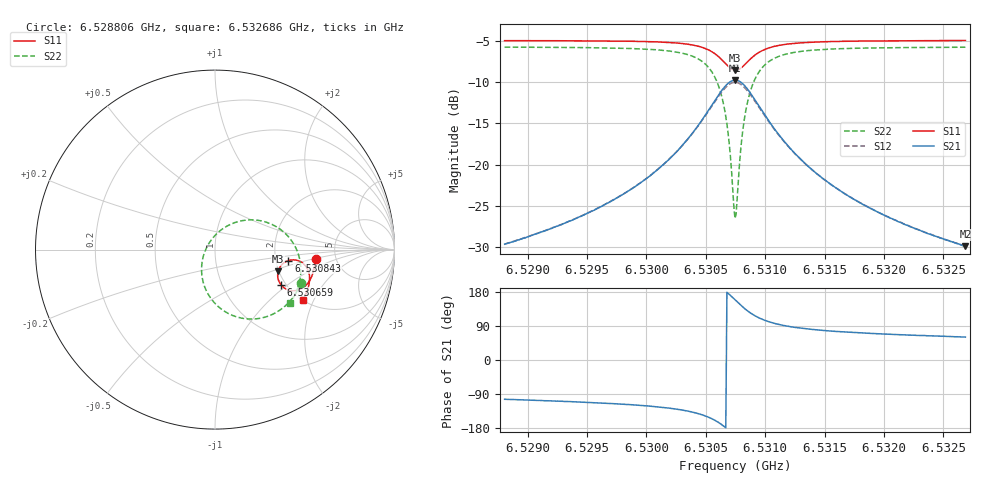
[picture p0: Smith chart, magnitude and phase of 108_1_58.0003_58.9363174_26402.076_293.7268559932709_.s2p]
#  HZ  S  RI  R  50.00
! Rohde & Schwarz Vector Network Analyzer
! Rohde-Schwarz,ZNB20-2Port,1311601062101988,3.16
! Created: UTC 3/21/2024, 12:55:05 AM
! freq[Hz]  re:S11  im:S11  re:S21  im:S21  re:S12  im:S12  re:S22  im:S22
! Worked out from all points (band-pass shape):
!   401 points, 6.528806 GHz to 6.532686 GHz, reference 50 ohm
!   highest |S21| = -9.76 dB at 6.530746 GHz (marker M1); lowest = -29.9 dB at 6.532686 GHz (marker M2)
!   |S21| within 3 dB of the highest: 6.530553 GHz to 6.530941 GHz (388.6 kHz wide, 0.00595 % of centre)
!   lowest |S11| = -8.6 dB at 6.530746 GHz (marker M3), VSWR 2.19, Z = 99.2 - j27.8 ohm
!   |S11| at or under -10 dB: nowhere
!   |S22| runs from -26.5 to -5.8 dB; largest |S21 - S12| = 0.013
!   S11 on the Smith chart (normalised r, x): 6.528806 GHz: 3.48, -0.56; 6.530659 GHz: 1.88, -0.89; 6.530843 GHz: 2.35, -0.35; 6.532686 GHz: 2.00, -1.66
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6.5288058e9  0.5607 -0.0548  -0.00779 -0.0321  -0.00854 -0.032  0.4804 -0.1842
6.5294557e9  0.5512 -0.1102  -0.0175 -0.0456  -0.0188 -0.0454  0.4481 -0.2464
6.529805e9  0.5409 -0.1439  -0.0298 -0.0592  -0.0314 -0.0586  0.4161 -0.289
6.5301057e9  0.5238 -0.178  -0.0532 -0.0786  -0.0552 -0.0772  0.3629 -0.3362
6.5303288e9  0.4965 -0.2086  -0.0949 -0.0996  -0.098 -0.0961  0.278 -0.3764
6.5304937e9  0.4511 -0.2285  -0.1668 -0.1071  -0.1695 -0.0999  0.1453 -0.3813
6.5305907e9  0.4039 -0.2232  -0.2407 -0.0797  -0.2397 -0.0692  0.0221 -0.321
6.5306586e9  0.3664 -0.1946  -0.2953 -0.0184  -0.2888 -0.00734  -0.0578 -0.207
6.5306877e9  0.3548 -0.1733  -0.3099 0.0221  -0.3009 0.0318  -0.0739 -0.1364
6.5307265e9  0.3493 -0.1386  -0.3117 0.085  -0.3 0.0913  -0.0642 -0.033
6.5307459e9  0.3521 -0.1206  -0.3032 0.1169  -0.2911 0.1208  -0.044 0.0172
6.5307556e9  0.3551 -0.1118  -0.2966 0.1323  -0.2844 0.1349  -0.03 0.0407
6.5307653e9  0.3589 -0.1036  -0.2885 0.1465  -0.2764 0.1482  -0.0141 0.0626
6.5308041e9  0.3811 -0.0763  -0.2452 0.1928  -0.2349 0.1909  0.0654 0.1301
6.5308429e9  0.4094 -0.0611  -0.1939 0.218  -0.1863 0.2144  0.1545 0.1618
6.5309108e9  0.455 -0.0593  -0.1141 0.221  -0.1103 0.2176  0.2886 0.1517
6.5310078e9  0.4957 -0.081  -0.045 0.189  -0.0433 0.187  0.4003 0.0815
6.5311533e9  0.5198 -0.1176  -0.00307 0.1402  -0.00181 0.1394  0.4621 -0.0182
6.5313959e9  0.5271 -0.1616  0.015 0.0919  0.0163 0.0915  0.4783 -0.1195
6.5316869e9  0.5225 -0.198  0.0184 0.063  0.0195 0.0626  0.4693 -0.1869
6.5320458e9  0.512 -0.2324  0.0179 0.0443  0.0188 0.0439  0.4514 -0.2387
6.5326861e9  0.4893 -0.2826  0.0158 0.0279  0.0164 0.0277  0.4184 -0.2988
